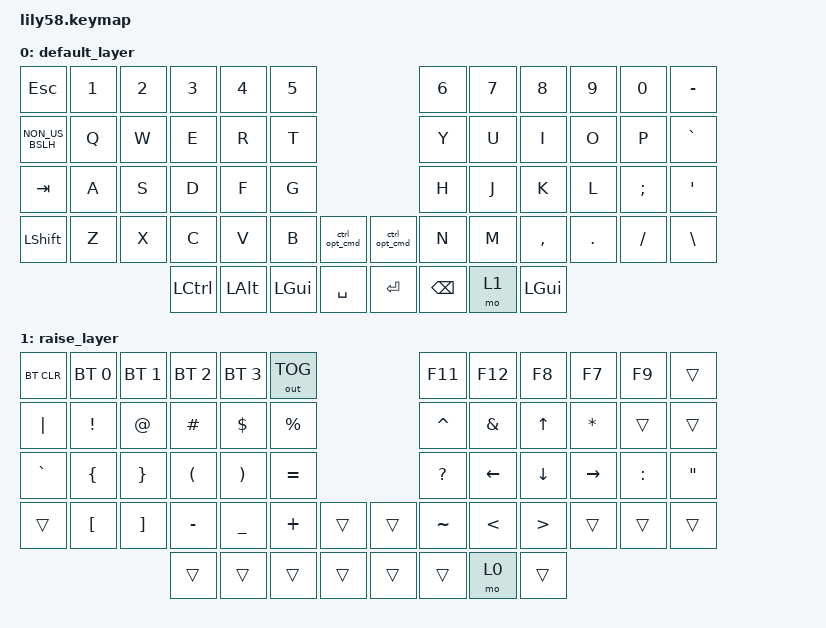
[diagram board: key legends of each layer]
/*
 * Copyright (c) 2020 The ZMK Contributors
 *
 * SPDX-License-Identifier: MIT
 */

#include <behaviors.dtsi>
#include <dt-bindings/zmk/keys.h>
#include <dt-bindings/zmk/bt.h>
#include <dt-bindings/zmk/ext_power.h>
#include <dt-bindings/zmk/outputs.h>

/ {
	macros {
		spotlight: spotlight {
			label = "spotlight";
            compatible = "zmk,behavior-macro";
            #binding-cells = <0>;
            bindings
                = <&macro_press &kp LGUI>
                , <&macro_tap &kp Z &kp SPACE>
                , <&macro_release &kp LGUI>
                ;
		};
		ctrl_opt_cmd: ctrl_opt_cmd {
			label = "ctrl_opt_cmd";
            compatible = "zmk,behavior-macro";
            #binding-cells = <0>;
            bindings
                = <&macro_press &kp LCTRL &kp LALT &kp LGUI>
                , <&macro_pause_for_release>
                , <&macro_release &kp LCTRL &kp LALT &kp LGUI>
                ;
		};
	};

	keymap { 
		compatible = "zmk,keymap";

		default_layer {
// ------------------------------------------------------------------------------------------------------------
// |  ESC  |  1  |  2  |  3    |  4   |  5   |                   |  6   |  7    |  8    |  9   |   0   |   -   |
// |   🚀  |  Q  |  W  |  E    |  R   |  T   |                   |  Y   |  U    |  I    |  O   |   P   |   =   |
// |  TAB  |  A  |  S  |  D    |  F   |  G   |                   |  H   |  J    |  K    |  L   |   ;   |   '   |
// | SHIFT |  Z  |  X  |  C    |  V   |  B   |  ➡️🪟  |  |  🔍   |  N   |  M    |  ,    |  .   |   /   |   \   |
//                     | CTRL  |  ALT |  GUI |  SPACE |  | ENTER | RAISE| BSPC  | GUI   |
			bindings = <
&kp ESC         &kp N1 &kp N2     &kp N3     &kp N4       &kp N5                            &kp N6    &kp N7  &kp N8    &kp N9   &kp N0   &kp MINUS
&kp NON_US_BSLH &kp Q  &kp W      &kp E      &kp R        &kp T                             &kp Y     &kp U   &kp I     &kp O    &kp P    &kp GRAVE
&kp TAB         &kp A  &kp S      &kp D      &kp F        &kp G                             &kp H     &kp J   &kp K     &kp L    &kp SEMI &kp SQT
&kp LSHFT       &kp Z  &kp X      &kp C      &kp V        &kp B      &ctrl_opt_cmd  &ctrl_opt_cmd &kp N     &kp M   &kp COMMA &kp DOT  &kp FSLH &kp BSLH
                                  &kp LCTRL  &kp LALT     &kp LGUI   &kp SPACE   &kp RET    &kp BSPC  &mo 1   &kp LGUI
			>;
		};
		raise_layer {
// ------------------------------------------------------------------------------------------------------------
// | BTCLR | BT1 | BT2 | BT3 |  BT4 |  BT5 |                   | F11  |  F12  |  F8   |  F7  |  F9   |       |
// |  '|'  |  !  |  @  |  £  |   $  |   %  |                   | '^'  |   &   |   ^   |  *   |       |       |
// |   `   |  {  |  }  |  (  |   )  |   =  |                   |   ?  |   <-  |   v   |  ->  |   :   |   "   |
// |       |  [  |  ]  |  -  |   _  |   +  |        |  |       |   ~  |   <   |   >   |      |       |       |
//                     |     |      |      |        |  |       |      |       |       |
			bindings = <
&bt BT_CLR  &bt BT_SEL 0 &bt BT_SEL 1 &bt BT_SEL 2 &bt BT_SEL 3  &out OUT_TOG                &kp F11    &kp F12   &kp F8    &kp F7    &kp F9    &trans
&kp PIPE    &kp EXCL     &kp AT       &kp HASH     &kp DLLR      &kp  PRCNT                  &kp CARET  &kp AMPS  &kp UP    &kp STAR  &trans    &trans
&kp GRAVE   &kp LBRC     &kp RBRC     &kp LPAR     &kp RPAR      &kp  EQUAL                  &kp QMARK  &kp LEFT  &kp DOWN  &kp RIGHT &kp COLON &kp DQT
&trans      &kp LBKT     &kp RBKT     &kp MINUS    &kp UNDER     &kp  PLUS     &trans &trans &kp TILDE  &kp LT    &kp GT    &trans    &trans    &trans   
                                      &trans       &trans        &trans        &trans &trans &trans     &mo 0     &trans
			>;
		};
	};
};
